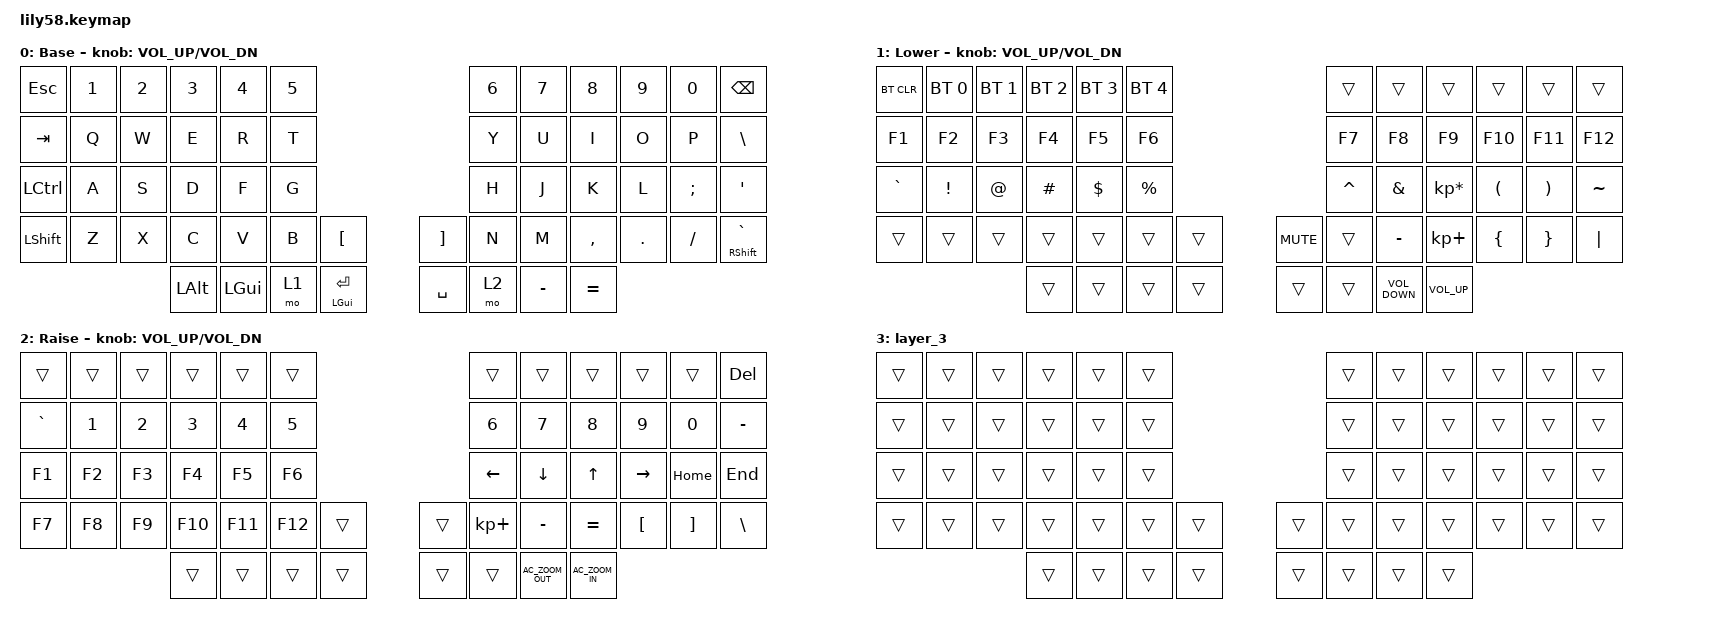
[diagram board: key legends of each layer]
/*
 * Copyright (c) 2020 The ZMK Contributors
 *
 * SPDX-License-Identifier: MIT
 */

#include <behaviors.dtsi>
#include <dt-bindings/zmk/bt.h>
#include <dt-bindings/zmk/keys.h>

/ {
    keymap {
        compatible = "zmk,keymap";

        default_layer {
            // ------------------------------------------------------------------------------------------------------------
            // |  ESC  |  1  |  2  |  3   |  4   |  5   |                   |  6   |  7    |  8    |  9   |   0   |   `   |
            // |  TAB  |  Q  |  W  |  E   |  R   |  T   |                   |  Y   |  U    |  I    |  O   |   P   |   -   |
            // |  CTRL |  A  |  S  |  D   |  F   |  G   |                   |  H   |  J    |  K    |  L   |   ;   |   '   |
            // | SHIFT |  Z  |  X  |  C   |  V   |  B   |   "["  |  |  "]"  |  N   |  M    |  ,    |  .   |   /   | SHIFT |
            //                     | ALT  | GUI  | LOWER|  SPACE |  | ENTER | RAISE| BSPC  | GUI   |

            display-name = "Base";
            bindings = <
&kp ESC    &kp N1  &kp N2  &kp N3    &kp N4    &kp N5                                   &kp N6  &kp N7     &kp N8     &kp N9   &kp N0    &kp BACKSPACE
&kp TAB    &kp Q   &kp W   &kp E     &kp R     &kp T                                    &kp Y   &kp U      &kp I      &kp O    &kp P     &kp BACKSLASH
&kp LCTRL  &kp A   &kp S   &kp D     &kp F     &kp G                                    &kp H   &kp J      &kp K      &kp L    &kp SEMI  &kp SQT
&kp LSHFT  &kp Z   &kp X   &kp C     &kp V     &kp B   &kp LBKT              &kp RBKT   &kp N   &kp M      &kp COMMA  &kp DOT  &kp FSLH  &mt RIGHT_SHIFT GRAVE
                           &kp LALT  &kp LGUI  &mo 1   &mt LEFT_GUI ENTER    &kp SPACE  &mo 2   &kp MINUS  &kp EQUAL
            >;

            sensor-bindings = <&inc_dec_kp C_VOL_UP C_VOL_DN>;
        };

        lower_layer {
            // ------------------------------------------------------------------------------------------------------------
            // | BTCLR | BT1 | BT2 |  BT3 |  BT4 |  BT5 |                   |      |       |       |      |       |       |
            // |  F1   |  F2 |  F3 |  F4  |  F5  |  F6  |                   |  F7  |  F8   |  F9   |  F10 |  F11  |  F12  |
            // |   `   |  !  |  @  |  #   |  $   |  %   |                   |  ^   |  &    |  *    |  (   |   )   |   ~   |
            // |       |     |     |      |      |      |        |  |       |      |  _    |  +    |  {   |   }   |  "|"  |
            //                     |      |      |      |        |  |       |      |       |       |

            display-name = "Lower";
            bindings = <
&bt BT_CLR  &bt BT_SEL 0  &bt BT_SEL 1  &bt BT_SEL 2  &bt BT_SEL 3  &bt BT_SEL 4                        &trans     &trans             &trans           &trans    &trans    &trans
&kp F1      &kp F2        &kp F3        &kp F4        &kp F5        &kp F6                              &kp F7     &kp F8             &kp F9           &kp F10   &kp F11   &kp F12
&kp GRAVE   &kp EXCL      &kp AT        &kp HASH      &kp DOLLAR    &kp PRCNT                           &kp CARET  &kp AMPS           &kp KP_MULTIPLY  &kp LPAR  &kp RPAR  &kp TILDE
&trans      &trans        &trans        &trans        &trans        &trans        &trans    &kp C_MUTE  &trans     &kp MINUS          &kp KP_PLUS      &kp LBRC  &kp RBRC  &kp PIPE
                                        &trans        &trans        &trans        &trans    &trans      &trans     &kp C_VOLUME_DOWN  &kp C_VOLUME_UP
            >;

            sensor-bindings = <&inc_dec_kp C_VOL_UP C_VOL_DN>;
        };

        raise_layer {
            // ------------------------------------------------------------------------------------------------------------
            // |       |     |     |      |      |      |                   |      |       |       |      |       |       |
            // |   `   |  1  |  2  |  3   |  4   |  5   |                   |  6   |   7   |   8   |  9   |   0   |       |
            // |   F1  |  F2 |  F3 |  F4  |  F5  |  F6  |                   |      |   <-  |   v   |  ^   |  ->   |       |
            // |   F7  |  F8 |  F9 |  F10 |  F11 |  F12 |        |  |       |  +   |   -   |   =   |  [   |   ]   |   \   |
            //                     |      |      |      |        |  |       |      |       |       |

            display-name = "Raise";
            bindings = <
&trans     &trans  &trans  &trans   &trans   &trans                     &trans          &trans             &trans            &trans     &trans    &kp DELETE
&kp GRAVE  &kp N1  &kp N2  &kp N3   &kp N4   &kp N5                     &kp N6          &kp N7             &kp N8            &kp N9     &kp N0    &kp MINUS
&kp F1     &kp F2  &kp F3  &kp F4   &kp F5   &kp F6                     &kp LEFT_ARROW  &kp DOWN           &kp UP_ARROW      &kp RIGHT  &kp HOME  &kp END
&kp F7     &kp F8  &kp F9  &kp F10  &kp F11  &kp F12  &trans    &trans  &kp KP_PLUS     &kp MINUS          &kp EQUAL         &kp LBKT   &kp RBKT  &kp BSLH
                           &trans   &trans   &trans   &trans    &trans  &trans          &kp C_AC_ZOOM_OUT  &kp C_AC_ZOOM_IN
            >;

            sensor-bindings = <&inc_dec_kp C_VOL_UP C_VOL_DN>;
        };

        layer_3 {
            bindings = <
&trans  &trans  &trans  &trans  &trans  &trans                    &trans  &trans  &trans  &trans  &trans  &trans
&trans  &trans  &trans  &trans  &trans  &trans                    &trans  &trans  &trans  &trans  &trans  &trans
&trans  &trans  &trans  &trans  &trans  &trans                    &trans  &trans  &trans  &trans  &trans  &trans
&trans  &trans  &trans  &trans  &trans  &trans  &trans    &trans  &trans  &trans  &trans  &trans  &trans  &trans
                        &trans  &trans  &trans  &trans    &trans  &trans  &trans  &trans
            >;
        };
    };
};
